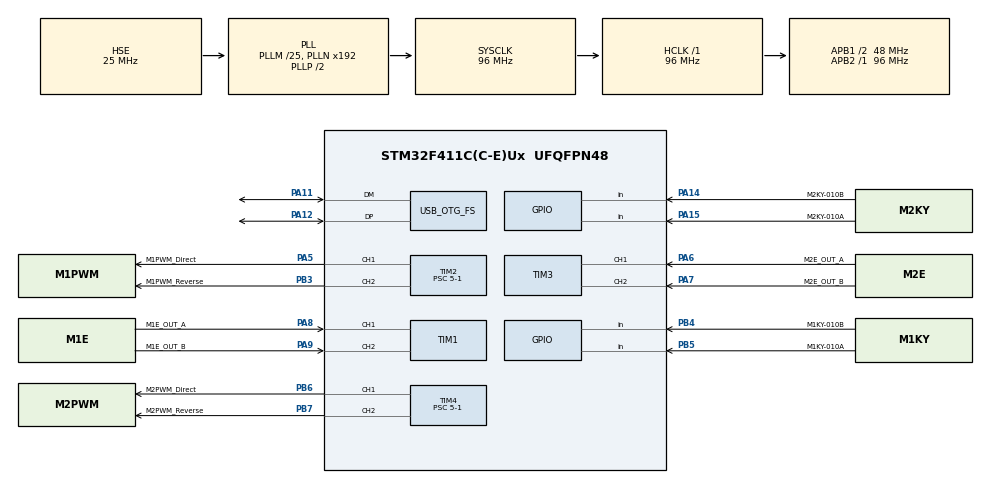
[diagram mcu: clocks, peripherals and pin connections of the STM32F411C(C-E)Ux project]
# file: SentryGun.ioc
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Mcu.Family=STM32F4
Mcu.Name=STM32F411C(C-E)Ux
Mcu.Package=UFQFPN48
NVIC.OTG_FS_IRQn=true\:0\:0\:false\:false\:true\:false\:true
NVIC.PriorityGroup=NVIC_PRIORITYGROUP_4
NVIC.TIM1_BRK_TIM9_IRQn=true\:0\:0\:false\:false\:true\:true\:true
NVIC.TIM1_CC_IRQn=true\:0\:0\:false\:false\:true\:true\:true
NVIC.TIM1_TRG_COM_TIM11_IRQn=true\:0\:0\:false\:false\:true\:true\:true
NVIC.TIM1_UP_TIM10_IRQn=true\:15\:0\:false\:false\:true\:true\:true
NVIC.TIM2_IRQn=true\:0\:0\:false\:false\:true\:true\:true
NVIC.TIM3_IRQn=true\:0\:0\:false\:false\:true\:true\:true
PA11.Mode=Device_Only
PA11.Signal=USB_OTG_FS_DM
PA12.Mode=Device_Only
PA12.Signal=USB_OTG_FS_DP
PA14.GPIO_Label=M2KY-010B
PA14.Signal=GPIO_Input
PA15.GPIO_Label=M2KY-010A
PA15.Signal=GPIO_Input
PA5.GPIO_Label=M1PWM_Direct
PA5.Signal=S_TIM2_CH1_ETR
PA6.GPIO_Label=M2E_OUT_A
PA6.Signal=S_TIM3_CH1
PA7.GPIO_Label=M2E_OUT_B
PA7.Signal=S_TIM3_CH2
PA8.GPIO_Label=M1E_OUT_A
PA8.Signal=S_TIM1_CH1
PA9.GPIO_Label=M1E_OUT_B
PA9.Signal=S_TIM1_CH2
PB3.GPIO_Label=M1PWM_Reverse
PB3.Signal=S_TIM2_CH2
PB4.GPIO_Label=M1KY-010B
PB4.Signal=GPIO_Input
PB5.GPIO_Label=M1KY-010A
PB5.Signal=GPIO_Input
PB6.GPIO_Label=M2PWM_Direct
PB6.Signal=S_TIM4_CH1
PB7.GPIO_Label=M2PWM_Reverse
PB7.Signal=S_TIM4_CH2
PC14-OSC32_IN.Mode=LSE-External-Oscillator
PC14-OSC32_IN.Signal=RCC_OSC32_IN
PC15-OSC32_OUT.Mode=LSE-External-Oscillator
PC15-OSC32_OUT.Signal=RCC_OSC32_OUT
PH0\ -\ OSC_IN.Mode=HSE-External-Oscillator
PH0\ -\ OSC_IN.Signal=RCC_OSC_IN
PH1\ -\ OSC_OUT.Mode=HSE-External-Oscillator
PH1\ -\ OSC_OUT.Signal=RCC_OSC_OUT
ProjectManager.HeapSize=0x200
ProjectManager.StackSize=0x400
ProjectManager.TargetToolchain=STM32CubeIDE
RCC.48MHZClocksFreq_Value=48000000
RCC.AHBFreq_Value=96000000
RCC.APB1CLKDivider=RCC_HCLK_DIV2
RCC.APB1Freq_Value=48000000
RCC.APB1TimFreq_Value=96000000
RCC.APB2Freq_Value=96000000
RCC.APB2TimFreq_Value=96000000
RCC.CortexFreq_Value=96000000
RCC.HCLKFreq_Value=96000000
RCC.HSE_VALUE=25000000
RCC.HSI_VALUE=16000000
RCC.PLLM=25
RCC.SYSCLKFreq_VALUE=96000000
RCC.SYSCLKSource=RCC_SYSCLKSOURCE_PLLCLK
RCC.VCOOutputFreq_Value=192000000
SH.S_TIM1_CH1.0=TIM1_CH1,Encoder_Interface
SH.S_TIM1_CH2.0=TIM1_CH2,Encoder_Interface
SH.S_TIM2_CH1_ETR.0=TIM2_CH1,PWM Generation1 CH1
SH.S_TIM2_CH2.0=TIM2_CH2,PWM Generation2 CH2
SH.S_TIM3_CH1.0=TIM3_CH1,Encoder_Interface
SH.S_TIM3_CH2.0=TIM3_CH2,Encoder_Interface
SH.S_TIM4_CH1.0=TIM4_CH1,PWM Generation1 CH1
SH.S_TIM4_CH2.0=TIM4_CH2,PWM Generation2 CH2
TIM1.EncoderMode=TIM_ENCODERMODE_TI1
TIM1.IC1Filter=15
TIM1.IC2Filter=15
TIM2.Channel-PWM\ Generation1\ CH1=TIM_CHANNEL_1
TIM2.Channel-PWM\ Generation2\ CH2=TIM_CHANNEL_2
TIM2.Period=1000-1
TIM2.Prescaler=5-1
TIM3.EncoderMode=TIM_ENCODERMODE_TI12
TIM4.Channel-PWM\ Generation1\ CH1=TIM_CHANNEL_1
TIM4.Channel-PWM\ Generation2\ CH2=TIM_CHANNEL_2
TIM4.Period=1000-1
TIM4.Prescaler=5-1
USB_DEVICE.CLASS_NAME_FS=CDC
USB_DEVICE.VirtualMode=Cdc
USB_DEVICE.VirtualModeFS=Cdc_FS
USB_OTG_FS.VirtualMode=Device_Only
VP_USB_DEVICE_VS_USB_DEVICE_CDC_FS.Mode=CDC_FS
board=custom

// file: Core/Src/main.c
/* USER CODE BEGIN Header */
/**
 ******************************************************************************
 * @file           : main.c
 * @brief          : Main program body
 ******************************************************************************
 * @attention
 *
 * Copyright (c) 2022 STMicroelectronics.
 * All rights reserved.
 *
 * This software is licensed under terms that can be found in the LICENSE file
 * in the root directory of this software component.
 * If no LICENSE file comes with this software, it is provided AS-IS.
 *
 ******************************************************************************
 */
/* USER CODE END Header */
#include "main.h"
#include "tim.h"
#include "usb_device.h"
#include "gpio.h"

/* USER CODE BEGIN Includes */
#include<stdio.h>
#include<string.h>
//#include "usbd_cdc_if.h"
/* USER CODE END Includes */

/* USER CODE BEGIN PV */

uint8_t ReceivedData[40]; // Tablica przechowujaca odebrane dane
uint8_t ReceivedDataFlag = 0; // Flaga informujaca o odebraniu danych
uint32_t message[150];
char *endXarg;
int FireFlag;
long long int target_Xaxis, target_Yaxis;
uint8_t optoelectric_sensor_handler[3];
motor_str motorA,motorB;
/* USER CODE END PV */

void SystemClock_Config(void);

int main(void)
{

  /* MCU Configuration--------------------------------------------------------*/

  /* Reset of all peripherals, Initializes the Flash interface and the Systick. */
  HAL_Init();

  /* Configure the system clock */
  SystemClock_Config();

  /* Initialize all configured peripherals */
  MX_GPIO_Init();
  MX_USB_DEVICE_Init();
  MX_TIM1_Init();
  MX_TIM2_Init();
  MX_TIM3_Init();
  MX_TIM4_Init();
  /* USER CODE BEGIN 2 */
	L298N_5AD_init(&htim2); //motor init
	L298N_5AD_init(&htim4); //motor init
	HAL_TIM_Encoder_Start(&htim1, TIM_CHANNEL_ALL);
	HAL_TIM_Encoder_Start(&htim3, TIM_CHANNEL_ALL);
	PID_Init(&motorA, MOTOR_A_Kp, MOTOR_A_Ki, MOTOR_A_Kd, 0, 999); //enter values kp,ki,kd into PID contoller
	PID_Init(&motorB, MOTOR_A_Kp, MOTOR_A_Ki, MOTOR_A_Kd, 0, 999); //enter values kp,ki,kd into PID contoller
  /* USER CODE END 2 */

  /* Infinite loop */
  /* USER CODE BEGIN WHILE */
	while (1) {
		motor_update_count(&motorA,&htim1); // tick counting encoder for motor A
		motor_update_count(&motorB,&htim3); // tick counting encoder for motor B
		receive_usb_message(&target_Xaxis, &target_Yaxis); //recive message form CDC USB
		PID_calculate(&motorA); // pid calculate algorithm for motor A
		PID_calculate(&motorB); // pid calculate algorithm for motor B
		L298N_5AD_set_motor(&motorA,&htim2); // set PWM motor A
		L298N_5AD_set_motor(&motorA,&htim4); // set pwm motor B
		motorA.set_target = target_Xaxis; //
		motorB.set_target = target_Yaxis;
		sprintf(message, "EC(A):%d PWM(A):%d Target(A):%d Direction(A):%d\n\rEC(B):%d PWM(B):%d Target(B):%d Direction(B):%d\n\r",(int) motorA.pulse_count, (int) motorA.actual_PWM, (int)motorA.set_target,(int) motorA.motorDirection,(int) motorB.pulse_count, (int) motorB.actual_PWM, (int)motorB.set_target,(int) motorB.motorDirection);
		CDC_Transmit_FS(message, strlen(message));
		//sprintf(message, "EC(B):%d PWM(B):%d Target(B):%d Direction(B):%d\n\r",(int) motorB.pulse_count, (int) motorB.actual_PWM, (int)motorB.set_target,(int) motorB.motorDirection);
		//CDC_Transmit_FS(message, strlen(message));
		HAL_Delay(100);
    /* USER CODE END WHILE */

	}
}

void SystemClock_Config(void)
{
  RCC_OscInitTypeDef RCC_OscInitStruct = {0};
  RCC_ClkInitTypeDef RCC_ClkInitStruct = {0};

  /** Configure the main internal regulator output voltage
  */
  __HAL_RCC_PWR_CLK_ENABLE();
  __HAL_PWR_VOLTAGESCALING_CONFIG(PWR_REGULATOR_VOLTAGE_SCALE1);
  /** Initializes the RCC Oscillators according to the specified parameters
  * in the RCC_OscInitTypeDef structure.
  */
  RCC_OscInitStruct.OscillatorType = RCC_OSCILLATORTYPE_HSE;
  RCC_OscInitStruct.HSEState = RCC_HSE_ON;
  RCC_OscInitStruct.PLL.PLLState = RCC_PLL_ON;
  RCC_OscInitStruct.PLL.PLLSource = RCC_PLLSOURCE_HSE;
  RCC_OscInitStruct.PLL.PLLM = 25;
  RCC_OscInitStruct.PLL.PLLN = 192;
  RCC_OscInitStruct.PLL.PLLP = RCC_PLLP_DIV2;
  RCC_OscInitStruct.PLL.PLLQ = 4;
  if (HAL_RCC_OscConfig(&RCC_OscInitStruct) != HAL_OK)
  {
    Error_Handler();
  }
  /** Initializes the CPU, AHB and APB buses clocks
  */
  RCC_ClkInitStruct.ClockType = RCC_CLOCKTYPE_HCLK|RCC_CLOCKTYPE_SYSCLK
                              |RCC_CLOCKTYPE_PCLK1|RCC_CLOCKTYPE_PCLK2;
  RCC_ClkInitStruct.SYSCLKSource = RCC_SYSCLKSOURCE_PLLCLK;
  RCC_ClkInitStruct.AHBCLKDivider = RCC_SYSCLK_DIV1;
  RCC_ClkInitStruct.APB1CLKDivider = RCC_HCLK_DIV2;
  RCC_ClkInitStruct.APB2CLKDivider = RCC_HCLK_DIV1;

  if (HAL_RCC_ClockConfig(&RCC_ClkInitStruct, FLASH_LATENCY_3) != HAL_OK)
  {
    Error_Handler();
  }
}

/* USER CODE BEGIN 4 */
void receive_usb_message(long long int *x, int *y) {
	if (ReceivedDataFlag == 1) {
		ReceivedDataFlag = 0;
		if (ReceivedData[0] == 'X' && strstr(ReceivedData, "Y")) {
			*x = strtol(ReceivedData + 1, &endXarg, 10);
			*y = strtol(endXarg + 1, NULL, 10);
			sprintf(message, "OK X=%d Y=%d\n\r", *x, *y);
		} else if (ReceivedData[0] == 'C') {
			//calibrate motor function not added yet
			sprintf(message, "Calibration in progress...");
		} else if (ReceivedData[0] == 'F') {
			FireFlag++;
			sprintf(message, "OK");
		} else {
			sprintf(message, "BAD_SYNTAX!");
		}
		CDC_Transmit_FS(message, strlen(message));
	}
}

/* USER CODE END 4 */

void Error_Handler(void)
{
	__disable_irq();
	while (1) {
	}
}
